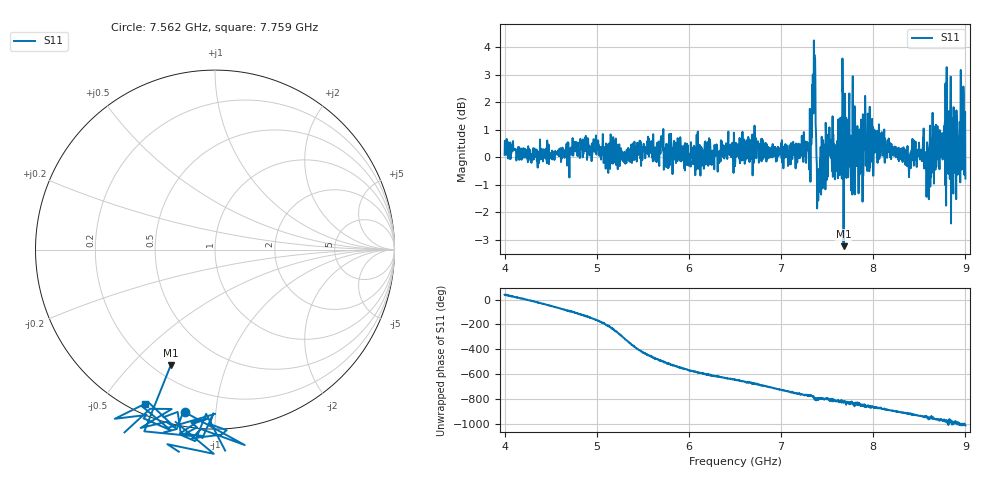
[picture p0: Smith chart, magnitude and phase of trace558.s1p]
! Created with skrf 1.8.0 (http://scikit-rf.org).
# Hz S RI R 50.0
!freq ReS11 ImS11
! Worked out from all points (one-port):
!   1601 points, 4 GHz to 9 GHz, reference 50 ohm
!   lowest |S11| = -3.2 dB at 7.678 GHz (marker M1), VSWR 5.44, Z = 13.3 - j32.7 ohm
!   |S11| at or under -10 dB: nowhere
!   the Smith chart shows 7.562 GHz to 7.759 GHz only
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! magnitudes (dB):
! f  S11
! 4 GHz  0.1
! 4.625 GHz  0.2
! 4.991 GHz  0.8
! 5.25 GHz  -0.3
! 5.697 GHz  0.7
! 5.753 GHz  -0.3
! 5.875 GHz  -0.1
! 6.5 GHz  -0.3
! 7.125 GHz  0.4
! 7.294 GHz  0.2
! 7.328 GHz  0.5
! 7.35 GHz  1.6
! 7.362 GHz  3.7
! 7.409 GHz  -0.4
! 7.509 GHz  -0.7
! 7.591 GHz  0.3
! 7.647 GHz  1.0
! 7.678 GHz  -3.2
! 7.703 GHz  -0.6
! 7.75 GHz  0.2
! 7.928 GHz  0.6
! 8.375 GHz  -0.3
! 8.522 GHz  0.0
! 8.581 GHz  -0.7
! 8.816 GHz  -0.6
! 8.869 GHz  -1.3
! 8.956 GHz  -0.1
! 9 GHz  -0.8
